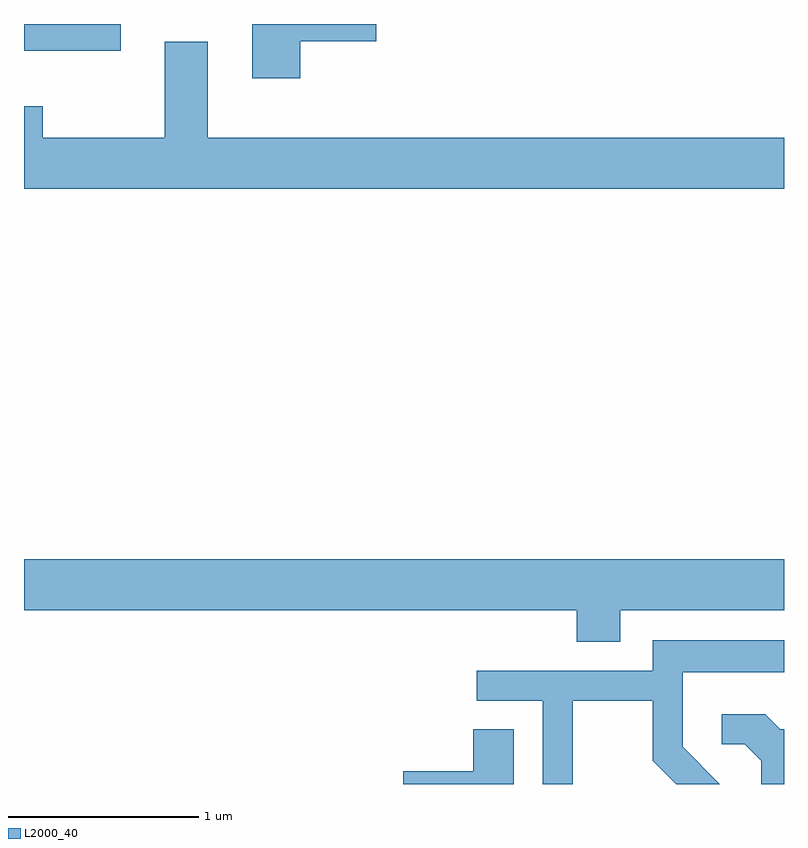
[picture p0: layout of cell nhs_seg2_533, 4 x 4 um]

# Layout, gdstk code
import gdstk
lib = gdstk.Library(unit=1e-6, precision=1e-09)
def R(c, l, rs):  # rectangles x0, y0, x1, y1
    for r in rs: c.add(gdstk.rectangle(r[:2], r[2:], *l))
def P(c, l, *ps):  # polygons
    for p in ps: c.add(gdstk.Polygon(p, *l))
L2000_40 = (2000, 40)

nhs_seg2_533 = lib.new_cell('nhs_seg2_533')
R(nhs_seg2_533, L2000_40, [(199.611,1095.661,200.119,1095.802)])
P(nhs_seg2_533, L2000_40, [(201.064,1095.711),(201.464,1095.711),(201.464,1095.802),(200.811,1095.802),(200.811,1095.516),(201.064,1095.516)],
  [(203.611,1095.204),(200.579,1095.204),(200.579,1095.709),(200.351,1095.709),(200.351,1095.204),(199.709,1095.204),(199.709,1095.369),(199.611,1095.369),(199.611,1094.936),(203.611,1094.936)],
  [(202.749,1092.716),(203.611,1092.716),(203.611,1092.984),(199.611,1092.984),(199.611,1092.716),(202.521,1092.716),(202.521,1092.551),(202.749,1092.551)],
  [(202.499,1092.241),(202.921,1092.241),(202.921,1091.924),(203.043,1091.802),(203.274,1091.802),(203.079,1091.997),(203.079,1092.391),(203.611,1092.391),(203.611,1092.559),(202.921,1092.559),(202.921,1092.399),(201.993,1092.399),(201.993,1092.241),(202.341,1092.241),(202.341,1091.802),(202.499,1091.802)],
  [(203.611,1092.089),(203.592,1092.089),(203.512,1092.169),(203.283,1092.169),(203.283,1092.011),(203.404,1092.011),(203.491,1091.924),(203.491,1091.802),(203.611,1091.802)],
  [(202.189,1092.089),(201.976,1092.089),(201.976,1091.869),(201.606,1091.869),(201.606,1091.802),(202.189,1091.802)])

lib.write_gds('nhs_seg2_533.gds')
